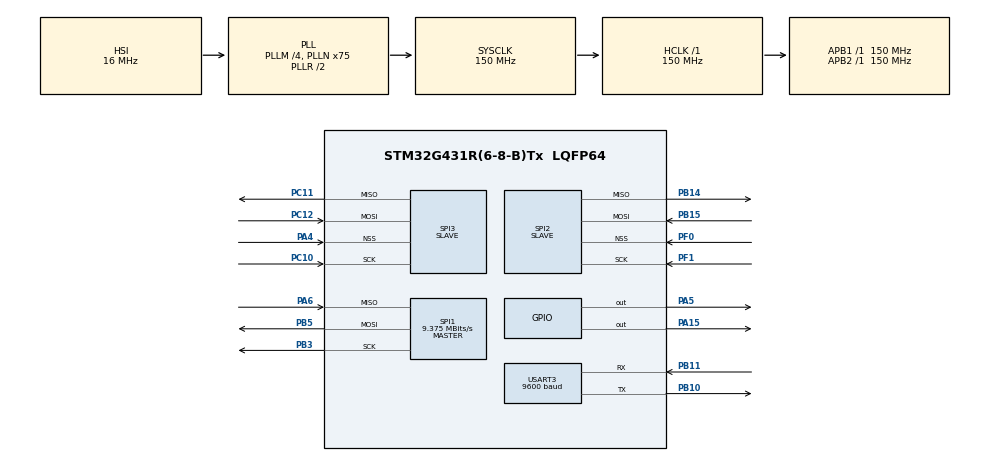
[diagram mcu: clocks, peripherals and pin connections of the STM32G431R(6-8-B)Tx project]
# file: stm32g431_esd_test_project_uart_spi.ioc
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Mcu.Family=STM32G4
Mcu.Name=STM32G431R(6-8-B)Tx
Mcu.Package=LQFP64
NVIC.PriorityGroup=NVIC_PRIORITYGROUP_4
NVIC.SPI1_IRQn=true\:0\:0\:false\:false\:true\:true\:true
NVIC.SPI2_IRQn=true\:0\:0\:false\:false\:true\:true\:true
NVIC.SPI3_IRQn=true\:0\:0\:false\:false\:true\:true\:true
NVIC.USART3_IRQn=true\:0\:0\:false\:false\:true\:true\:true
PA13.Mode=Serial_Wire
PA13.Signal=SYS_JTMS-SWDIO
PA14.Mode=Serial_Wire
PA14.Signal=SYS_JTCK-SWCLK
PA15.PinState=GPIO_PIN_SET
PA15.Signal=GPIO_Output
PA4.Mode=NSS_Signal_Hard_Input
PA4.Signal=SPI3_NSS
PA5.Signal=GPIO_Output
PA6.Mode=Full_Duplex_Master
PA6.Signal=SPI1_MISO
PB10.Mode=Asynchronous
PB10.Signal=USART3_TX
PB11.Mode=Asynchronous
PB11.Signal=USART3_RX
PB14.Mode=Full_Duplex_Slave
PB14.Signal=SPI2_MISO
PB15.Mode=Full_Duplex_Slave
PB15.Signal=SPI2_MOSI
PB3.Mode=Full_Duplex_Master
PB3.Signal=SPI1_SCK
PB5.Mode=Full_Duplex_Master
PB5.Signal=SPI1_MOSI
PC10.Mode=Full_Duplex_Slave
PC10.Signal=SPI3_SCK
PC11.Mode=Full_Duplex_Slave
PC11.Signal=SPI3_MISO
PC12.Mode=Full_Duplex_Slave
PC12.Signal=SPI3_MOSI
PF0-OSC_IN.Mode=NSS_Signal_Hard_Input
PF0-OSC_IN.Signal=SPI2_NSS
PF1-OSC_OUT.Mode=Full_Duplex_Slave
PF1-OSC_OUT.Signal=SPI2_SCK
ProjectManager.HeapSize=0x200
ProjectManager.StackSize=0x400
ProjectManager.TargetToolchain=MDK-ARM V5
RCC.ADC12Freq_Value=150000000
RCC.AHBFreq_Value=150000000
RCC.APB1Freq_Value=150000000
RCC.APB1TimFreq_Value=150000000
RCC.APB2Freq_Value=150000000
RCC.APB2TimFreq_Value=150000000
RCC.CortexFreq_Value=150000000
RCC.EXTERNAL_CLOCK_VALUE=12288000
RCC.HCLKFreq_Value=150000000
RCC.HSE_VALUE=8000000
RCC.HSI48_VALUE=48000000
RCC.HSI_VALUE=16000000
RCC.LSE_VALUE=32768
RCC.PLLM=RCC_PLLM_DIV4
RCC.PLLN=75
RCC.SYSCLKFreq_VALUE=150000000
RCC.SYSCLKSource=RCC_SYSCLKSOURCE_PLLCLK
RCC.USBFreq_Value=150000000
RCC.VCOOutputFreq_Value=300000000
SPI1.BaudRatePrescaler=SPI_BAUDRATEPRESCALER_16
SPI1.CLKPolarity=SPI_POLARITY_LOW
SPI1.CalculateBaudRate=9.375 MBits/s
SPI1.DataSize=SPI_DATASIZE_8BIT
SPI1.Direction=SPI_DIRECTION_2LINES
SPI1.Mode=SPI_MODE_MASTER
SPI1.VirtualType=VM_MASTER
SPI2.CLKPolarity=SPI_POLARITY_LOW
SPI2.DataSize=SPI_DATASIZE_8BIT
SPI2.Direction=SPI_DIRECTION_2LINES
SPI2.Mode=SPI_MODE_SLAVE
SPI2.VirtualNSS=VM_NSSHARD
SPI2.VirtualType=VM_SLAVE
SPI3.CLKPolarity=SPI_POLARITY_LOW
SPI3.DataSize=SPI_DATASIZE_8BIT
SPI3.Direction=SPI_DIRECTION_2LINES
SPI3.Mode=SPI_MODE_SLAVE
SPI3.VirtualNSS=VM_NSSHARD
SPI3.VirtualType=VM_SLAVE
USART3.BaudRate=9600
USART3.VirtualMode-Asynchronous=VM_ASYNC
VP_SYS_VS_DBSignals.Mode=DisableDeadBatterySignals
board=custom

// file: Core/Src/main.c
/* USER CODE BEGIN Header */
/**
  ******************************************************************************
  * @file           : main.c
  * @brief          : Main program body
  ******************************************************************************
  * @attention
  *
  * <h2><center>&copy; Copyright (c) 2020 STMicroelectronics.
  * All rights reserved.</center></h2>
  *
  * This software component is licensed by ST under BSD 3-Clause license,
  * the "License"; You may not use this file except in compliance with the
  * License. You may obtain a copy of the License at:
  *                        opensource.org/licenses/BSD-3-Clause
  *
  ******************************************************************************
  */
/* USER CODE END Header */
#include "main.h"
#include "spi.h"
#include "usart.h"
#include "gpio.h"

/* USER CODE BEGIN Includes */
#include <string.h>
/* USER CODE END Includes */

void SystemClock_Config(void);
/* USER CODE BEGIN PFP */
#define COUNTOF(__BUFFER__)   (sizeof(__BUFFER__) / sizeof(*(__BUFFER__)))
#define UARTTXBUFFERSIZE                (COUNTOF(aUartTxBuffer) - 1)
#define UARTRXBUFFERSIZE                UARTTXBUFFERSIZE

#define SPITXBUFFERSIZE                		(COUNTOF(aSpiTxBuffer) - 1)
#define SPIRXBUFFERSIZE                		SPITXBUFFERSIZE

/* USER CODE END PFP */

/* USER CODE BEGIN 0 */
__IO ITStatus UartReady = RESET;
__IO ITStatus SpiReady = RESET;

uint8_t aUartTxBuffer[] = " **** UART_TwoBoards_ComPolling ****  **** UART_TwoBoards_ComPolling ****  **** UART_TwoBoards_ComPolling **** ";
uint8_t aUartRxBuffer[UARTRXBUFFERSIZE];

uint8_t aSpiTxBuffer[] = " **** SPI_TwoBoards_ComPolling ****  **** SPI_TwoBoards_ComPolling ****  **** SPI_TwoBoards_ComPolling **** ";
uint8_t aSpiRxBuffer[SPIRXBUFFERSIZE];

static uint16_t Buffercmp(uint8_t *pBuffer1, uint8_t *pBuffer2, uint16_t BufferLength);
/* USER CODE END 0 */

int main(void)
{

  /* MCU Configuration--------------------------------------------------------*/

  /* Reset of all peripherals, Initializes the Flash interface and the Systick. */
  HAL_Init();

  /* Configure the system clock */
  SystemClock_Config();

  /* Initialize all configured peripherals */
  MX_GPIO_Init();
  MX_SPI1_Init();
  MX_USART3_UART_Init();
  MX_SPI2_Init();
  MX_SPI3_Init();
  /* USER CODE BEGIN 2 */
	HAL_GPIO_WritePin(GPIOA, GPIO_PIN_15, GPIO_PIN_SET);
	HAL_Delay(200);
  /* USER CODE END 2 */

  /* Infinite loop */
  /* USER CODE BEGIN WHILE */
  while (1)
  {
		memset(aUartRxBuffer, 0x00, UARTRXBUFFERSIZE);
		memset(aSpiRxBuffer, 0xA5, SPIRXBUFFERSIZE);

		//UART Test
		if (HAL_UART_Receive_IT(&huart3, (uint8_t *)aUartRxBuffer, UARTRXBUFFERSIZE) != HAL_OK)
    {
      Error_Handler();
    }

		if (HAL_UART_Transmit_IT(&huart3, (uint8_t *)aUartTxBuffer, UARTTXBUFFERSIZE) != HAL_OK)
		{
			Error_Handler();
		}

		HAL_Delay(200);

		//SPI Test
		if(HAL_SPI_Receive_IT(&hspi3, (uint8_t *)aSpiRxBuffer, SPIRXBUFFERSIZE) != HAL_OK)
		{
			Error_Handler();
		}

		HAL_GPIO_WritePin(GPIOA, GPIO_PIN_15, GPIO_PIN_RESET);
		if(HAL_SPI_Transmit_IT(&hspi1, (uint8_t *)aSpiTxBuffer, SPITXBUFFERSIZE) != HAL_OK)
		{
			Error_Handler();
		}
		HAL_GPIO_WritePin(GPIOA, GPIO_PIN_15, GPIO_PIN_SET);

		HAL_Delay(300);

		//CHECK TEST
		if (Buffercmp((uint8_t *)aUartRxBuffer, (uint8_t *)aUartTxBuffer, UARTRXBUFFERSIZE))
		{
			Error_Handler();
		}

		if (Buffercmp((uint8_t *)aSpiRxBuffer, (uint8_t *)aSpiTxBuffer, SPIRXBUFFERSIZE))
		{
			Error_Handler();
		}

		HAL_GPIO_TogglePin(GPIOA, GPIO_PIN_5);
    /* USER CODE END WHILE */

  }
}

void SystemClock_Config(void)
{
  RCC_OscInitTypeDef RCC_OscInitStruct = {0};
  RCC_ClkInitTypeDef RCC_ClkInitStruct = {0};
  RCC_PeriphCLKInitTypeDef PeriphClkInit = {0};

  /** Configure the main internal regulator output voltage
  */
  HAL_PWREx_ControlVoltageScaling(PWR_REGULATOR_VOLTAGE_SCALE1);
  /** Initializes the RCC Oscillators according to the specified parameters
  * in the RCC_OscInitTypeDef structure.
  */
  RCC_OscInitStruct.OscillatorType = RCC_OSCILLATORTYPE_HSI;
  RCC_OscInitStruct.HSIState = RCC_HSI_ON;
  RCC_OscInitStruct.HSICalibrationValue = RCC_HSICALIBRATION_DEFAULT;
  RCC_OscInitStruct.PLL.PLLState = RCC_PLL_ON;
  RCC_OscInitStruct.PLL.PLLSource = RCC_PLLSOURCE_HSI;
  RCC_OscInitStruct.PLL.PLLM = RCC_PLLM_DIV4;
  RCC_OscInitStruct.PLL.PLLN = 75;
  RCC_OscInitStruct.PLL.PLLP = RCC_PLLP_DIV2;
  RCC_OscInitStruct.PLL.PLLQ = RCC_PLLQ_DIV2;
  RCC_OscInitStruct.PLL.PLLR = RCC_PLLR_DIV2;
  if (HAL_RCC_OscConfig(&RCC_OscInitStruct) != HAL_OK)
  {
    Error_Handler();
  }
  /** Initializes the CPU, AHB and APB buses clocks
  */
  RCC_ClkInitStruct.ClockType = RCC_CLOCKTYPE_HCLK|RCC_CLOCKTYPE_SYSCLK
                              |RCC_CLOCKTYPE_PCLK1|RCC_CLOCKTYPE_PCLK2;
  RCC_ClkInitStruct.SYSCLKSource = RCC_SYSCLKSOURCE_PLLCLK;
  RCC_ClkInitStruct.AHBCLKDivider = RCC_SYSCLK_DIV1;
  RCC_ClkInitStruct.APB1CLKDivider = RCC_HCLK_DIV1;
  RCC_ClkInitStruct.APB2CLKDivider = RCC_HCLK_DIV1;

  if (HAL_RCC_ClockConfig(&RCC_ClkInitStruct, FLASH_LATENCY_4) != HAL_OK)
  {
    Error_Handler();
  }
  /** Initializes the peripherals clocks
  */
  PeriphClkInit.PeriphClockSelection = RCC_PERIPHCLK_USART3;
  PeriphClkInit.Usart3ClockSelection = RCC_USART3CLKSOURCE_PCLK1;
  if (HAL_RCCEx_PeriphCLKConfig(&PeriphClkInit) != HAL_OK)
  {
    Error_Handler();
  }
}

/* USER CODE BEGIN 4 */
void HAL_UART_TxCpltCallback(UART_HandleTypeDef *UartHandle)
{
  /* Set transmission flag: transfer complete */
  UartReady = SET;
}

void HAL_UART_RxCpltCallback(UART_HandleTypeDef *UartHandle)
{
  /* Set transmission flag: transfer complete */
  UartReady = SET;
}

void HAL_SPI_TxCpltCallback(SPI_HandleTypeDef *hspi)
{
  SpiReady = SET;
}

void HAL_SPI_RxCpltCallback(SPI_HandleTypeDef *hspi)
{
  SpiReady = SET;
}

static uint16_t Buffercmp(uint8_t *pBuffer1, uint8_t *pBuffer2, uint16_t BufferLength)
{
  while (BufferLength--)
  {
    if ((*pBuffer1) != *pBuffer2)
    {
      return BufferLength;
    }
    pBuffer1++;
    pBuffer2++;
  }

  return 0;
}
/* USER CODE END 4 */

void Error_Handler(void)
{
  /* USER CODE BEGIN Error_Handler_Debug */
  /* User can add his own implementation to report the HAL error return state */
	while(1){};
  /* USER CODE END Error_Handler_Debug */
}

/************************ (C) COPYRIGHT STMicroelectronics *****END OF FILE****/
